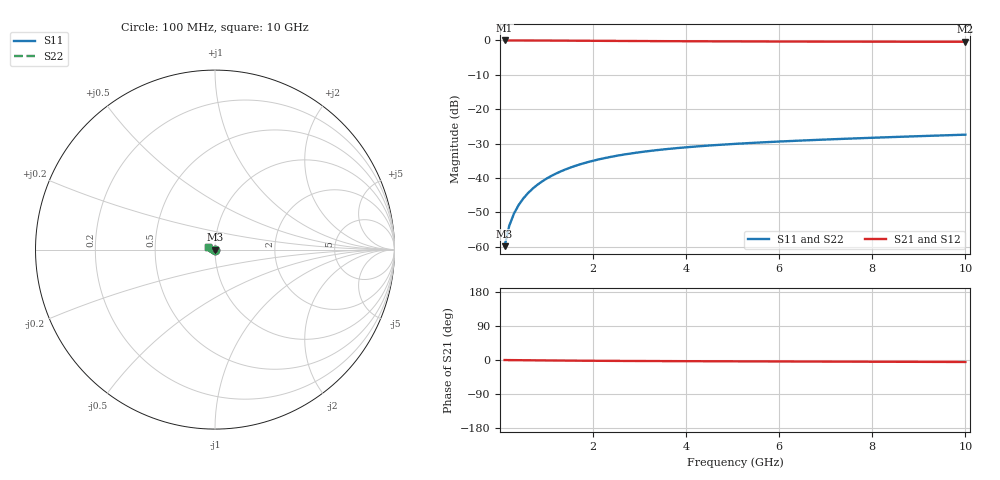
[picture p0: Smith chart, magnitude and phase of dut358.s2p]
! Touchstone file exported from HFSS 2024.1.0
!  File:  C:/UserFiles/LocalFiles/RDL_TSV_Batchsim/temp_TSV1_358_1779620707.aedt
!  Generated:  07:10:52 PM May 24, 2026
!  Design:  TSV1
!  Project:  temp_TSV1_358_1779620707
!  Setup:  Setup1
!  Solution:  Sweep
! Variables:
!  dtsv = 8.97um
!  hbump = 3um
!  htsv = 79.08um
!  lrdl = 252.1521522um
!  p = 40
!  p1 = 56.31um
!  t = 500um
!  trdl = 3um
!  wrdl = 24.89489489um
# GHz S MA R 50.000000
! Terminal data exported
! Port[1] = TSV22_T1
! Port[2] = TSV22_T2
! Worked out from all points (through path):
!   100 points, 100 MHz to 10 GHz, reference 50 ohm
!   highest |S21| = 0.00 dB at 100 MHz (marker M1); lowest = -0.4 dB at 10 GHz (marker M2)
!   lowest |S11| = -59.8 dB at 100 MHz (marker M3), VSWR 1.00, Z = 50 - j0.101 ohm
!   |S11| at or under -10 dB: start of sweep to end of sweep
!   |S22| runs from -59.8 to -27.4 dB; largest |S21 - S12| = 4.7e-15
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0.1  0.001021 -82.1  0.9998 -0.1  0.9998 -0.1  0.001021 -82.1
! Gamma 0 0 0 0
! Port Impedance 50 0 50 0
0.2  0.002024 -88.9  0.9997 -0.2  0.9997 -0.2  0.002024 -88.9
0.3  0.00303 -92.7  0.9995 -0.4  0.9995 -0.4  0.00303 -92.7
0.4  0.004033 -95.6  0.9992 -0.5  0.9992 -0.5  0.004033 -95.6
0.5  0.005027 -98.2  0.9988 -0.6  0.9988 -0.6  0.005027 -98.2
0.6  0.006009 -100.6  0.9984 -0.7  0.9984 -0.7  0.006009 -100.6
0.7  0.006979 -102.9  0.998 -0.8  0.998 -0.8  0.006979 -102.9
0.8  0.007933 -105.2  0.9975 -0.9  0.9975 -0.9  0.007933 -105.2
0.9  0.008871 -107.3  0.9969 -1.0  0.9969 -1.0  0.008871 -107.3
1.1  0.01069 -111.5  0.9956 -1.2  0.9956 -1.2  0.01069 -111.5
1.4  0.01327 -117.4  0.9934 -1.5  0.9934 -1.5  0.01327 -117.4
1.6  0.01488 -121.2  0.9918 -1.7  0.9918 -1.7  0.01488 -121.2
1.8  0.01639 -124.8  0.9901 -1.9  0.9901 -1.9  0.01639 -124.8
2.1  0.0185 -130.0  0.9876 -2.1  0.9876 -2.1  0.0185 -130.0
2.5  0.021 -136.4  0.9843 -2.4  0.9843 -2.4  0.021 -136.4
2.9  0.02319 -142.3  0.9811 -2.6  0.9811 -2.6  0.02319 -142.3
3.4  0.02556 -149.0  0.9775 -2.8  0.9775 -2.8  0.02556 -149.0
4.2  0.02868 -158.4  0.9725 -3.2  0.9725 -3.2  0.02868 -158.4
5.1  0.03151 -167.5  0.9682 -3.5  0.9682 -3.5  0.03151 -167.5
6.7  0.03558 179.3  0.9628 -4.1  0.9628 -4.1  0.03558 179.3
8.4  0.03932 168.2  0.959 -4.7  0.959 -4.7  0.03932 168.2
10  0.04268 159.5  0.9566 -5.2  0.9566 -5.2  0.04268 159.5
